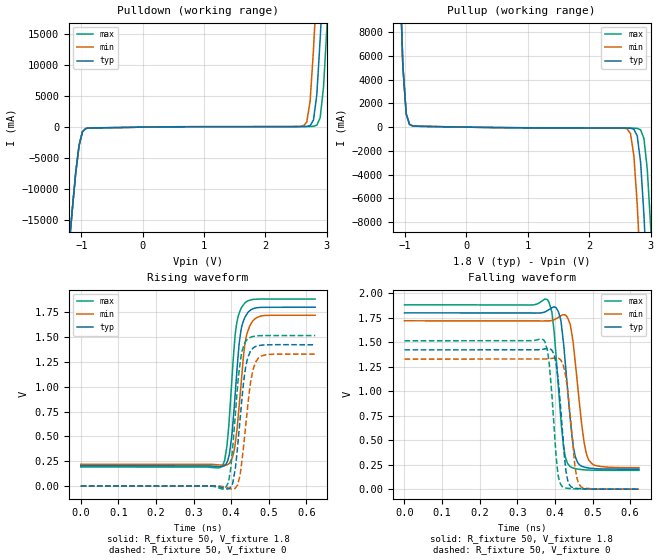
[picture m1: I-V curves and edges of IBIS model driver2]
| IBIS file inv_chain_fast_5ps_tr200ps.ibs created by PYS2IBIS3
| Missouri S&T EMC Lab
[IBIS Ver] 7.1
[File Name] inv_chain_fast_5ps_tr200ps.ibs
[File Rev] 1.0
[Date] Jul 27, 2026
[Source] Eight-stage inv_chain transistor model characterized with s2ibispy
[Notes] Parameter selection; sim_time=6.231e-10, tr=tf=2.000e-10.
[Component] invchain
[Manufacturer] s2ibispy study
[Package]
| variable   typ   min   max
R_pkg 0 NA NA
L_pkg 0H NA NA
C_pkg 0F NA NA
[Pin]  signal_name   model_name   R_pin   L_pin   C_pin
VSSQ   VSSQ   Gnd
VCCQ   VCCQ   Power
| IN IN dummy
PAD   PAD   driver2
| End of Component
| Models and submodels in the file (1): driver2 (Output)
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[Model] driver2
Model_type Output
Polarity Non-Inverting
Enable Active-High
Vinl  = 0.8V
Vinh  = 2V
C_comp 0.4680pF NA NA
[Temperature Range] 27.0000 27.0000 27.0000
[Voltage Range] 1.8000V 1.7000V 1.9000V
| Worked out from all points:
|   slope of the pulldown table from 0 to 0.27 V, typ, clamps not added: 6.79 ohm
|   slope of the pullup table from 0 to 0.27 V, typ, clamps not added: 12.6 ohm
|   rising waveform, R_fixture 50, V_fixture 1.8: 20-80 % time 20.6ps typ, 22.2ps min, 19.4ps max; typ from 0.204 V to 1.8 V
|   rising waveform, R_fixture 50, V_fixture 0: 20-80 % time 22ps typ, 23.3ps min, 20.5ps max; typ from 0 V to 1.42 V
|   falling waveform, R_fixture 50, V_fixture 1.8: 20-80 % time 23ps typ, 25.3ps min, 21ps max; typ from 1.8 V to 0.204 V
|   falling waveform, R_fixture 50, V_fixture 0: 20-80 % time 18.4ps typ, 19.9ps min, 17.6ps max; typ from 1.42 V to 0 V
[Pulldown]
| Voltage   I(typ)   I(min)   I(max)
-1.8V     -87.88A    -87.88A    -87.88A
-1.2V     -19.4A     -19.4A     -19.4A
-1.036V   -2.952A    -2.948A    -2.955A
-927.3mV  -221.8mA   -216.4mA   -227mA
2.618V    95.77mA    193.1mA    97.15mA
2.727V    244.8mA    4.224A     106.4mA
2.782V    1.151A     12.49A     132.5mA
2.836V    5.27A      23.04A     313.7mA
2.891V    14.25A     33.59A     1.533A
2.946V    24.81A     44.15A     6.464A
3V        35.36A     54.71A     16.02A
3.6V      151.5A     170.8A     132.1A
[Pullup]
| Voltage   I(typ)   I(min)   I(max)
-1.8V     151.4A     151.4A     151.4A
-1.091V   14.2A      14.19A     14.2A
-981.8mV  1.13A      1.129A     1.132A
-872.7mV  99.18mA    97.54mA    100.6mA
2.618V    -78.19mA   -142.5mA   -79.21mA
2.727V    -177.2mA   -2.408A    -86.52mA
2.782V    -728.3mA   -6.523A    -104.6mA
2.836V    -2.952A    -12.18A    -222.3mA
2.891V    -7.391A    -18.4A     -950.7mA
2.946V    -13.22A    -24.62A    -3.561A
3V        -19.44A    -30.85A    -8.297A
3.6V      -87.92A    -99.33A    -76.52A
[Ramp]
| variable   typ   min   max
dV/dt_r 0.8532/0.02171n 0.7968/0.02334n 0.9090/0.02058n
dV/dt_f 0.9575/0.02292n 0.8972/0.02485n 1.0171/0.02153n
R_load = 50
[Rising Waveform]
R_fixture = 50
V_fixture = 1.8
|time   V(typ)   V(min)   V(max)
0s        204.2mV    219.5mV    192.2mV
372.4ps   195.5mV    210.6mV    189.5mV
388ps     235mV      213.2mV    381.1mV
395.5ps   329.6mV    230.6mV    706.5mV
410.4ps   920mV      421.2mV    1.521V
419.2ps   1.365V     719.1mV    1.717V
427.3ps   1.593V     1.074V     1.797V
440.4ps   1.723V     1.511V     1.855V
463.4ps   1.791V     1.684V     1.88V
623.1ps   1.8V       1.719V     1.882V
[Rising Waveform]
R_fixture = 50
V_fixture = 0
|time   V(typ)   V(min)   V(max)
0s        13.08nV    12.76nV    13.48nV
383.6ps   -26.08mV   -9.242mV   -24.03mV
392.3ps   -28.75mV   -20.24mV   32.42mV
398ps     -10.37mV   -27.58mV   155.2mV
411.1ps   176.6mV    -19.2mV    731.3mV
422.9ps   643.1mV    100.9mV    1.228V
436ps     1.135V     515.8mV    1.441V
452.2ps   1.366V     1.062V     1.499V
472.2ps   1.413V     1.288V     1.513V
623.1ps   1.422V     1.328V     1.515V
[Falling Waveform]
R_fixture = 50
V_fixture = 1.8
|time   V(typ)   V(min)   V(max)
0s        1.8V       1.719V     1.882V
379.9ps   1.823V     1.717V     1.934V
391.7ps   1.853V     1.723V     1.81V
408.6ps   1.817V     1.753V     1.07V
427.3ps   1.297V     1.78V      333.5mV
441ps     699.1mV    1.674V     229.8mV
454.1ps   332.8mV    1.295V     209.8mV
476.5ps   226.9mV    500.2mV    197.6mV
489.6ps   216mV      297.7mV    194.8mV
623.1ps   204.2mV    219.5mV    192.2mV
[Falling Waveform]
R_fixture = 50
V_fixture = 0
|time   V(typ)   V(min)   V(max)
0s        1.422V     1.328V     1.515V
368.6ps   1.429V     1.328V     1.527V
384.2ps   1.436V     1.332V     1.299V
398ps     1.37V      1.339V     622.4mV
407.3ps   1.158V     1.338V     170.8mV
414.8ps   844.4mV    1.321V     51.59mV
433.5ps   93.9mV     1.024V     8.535mV
452.8ps   10.32mV    242.5mV    3.337mV
462.8ps   6.224mV    59.26mV    1.978mV
623.1ps   -7.663uV   -8.031uV   -3.99uV
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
